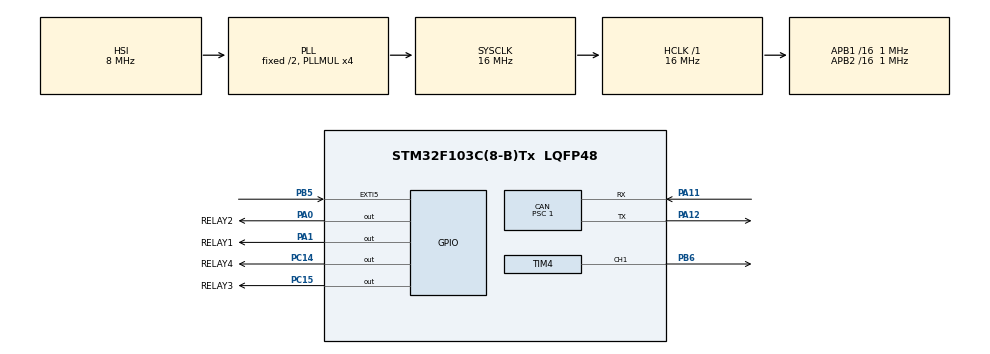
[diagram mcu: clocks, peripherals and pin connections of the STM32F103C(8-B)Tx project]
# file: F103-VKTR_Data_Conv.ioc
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CAN.BS1=CAN_BS1_2TQ
CAN.CalculateBaudRate=250000
CAN.CalculateTimeBit=4000
CAN.CalculateTimeQuantum=1000.0
CAN.Prescaler=1
Mcu.Family=STM32F1
Mcu.Name=STM32F103C(8-B)Tx
Mcu.Package=LQFP48
NVIC.CAN1_RX1_IRQn=true\:0\:0\:false\:false\:true\:true\:true\:true
NVIC.EXTI9_5_IRQn=true\:0\:0\:false\:false\:true\:true\:true\:true
NVIC.PriorityGroup=NVIC_PRIORITYGROUP_4
NVIC.TIM2_IRQn=true\:0\:0\:false\:false\:true\:true\:true\:true
PA0-WKUP.GPIO_Label=RELAY2
PA0-WKUP.Signal=GPIO_Output
PA1.GPIO_Label=RELAY1
PA1.Signal=GPIO_Output
PA11.Mode=CAN_Activate
PA11.Signal=CAN_RX
PA12.Mode=CAN_Activate
PA12.Signal=CAN_TX
PA13.Mode=Serial_Wire
PA13.Signal=SYS_JTMS-SWDIO
PA14.Mode=Serial_Wire
PA14.Signal=SYS_JTCK-SWCLK
PB5.Signal=GPXTI5
PB6.Signal=S_TIM4_CH1
PC14-OSC32_IN.GPIO_Label=RELAY4
PC14-OSC32_IN.Signal=GPIO_Output
PC15-OSC32_OUT.GPIO_Label=RELAY3
PC15-OSC32_OUT.Signal=GPIO_Output
PD0-OSC_IN.Mode=HSE-External-Oscillator
PD0-OSC_IN.Signal=RCC_OSC_IN
PD1-OSC_OUT.Mode=HSE-External-Oscillator
PD1-OSC_OUT.Signal=RCC_OSC_OUT
ProjectManager.HeapSize=0x200
ProjectManager.StackSize=0x400
ProjectManager.TargetToolchain=STM32CubeIDE
RCC.AHBFreq_Value=16000000
RCC.APB1CLKDivider=RCC_HCLK_DIV16
RCC.APB1Freq_Value=1000000
RCC.APB1TimFreq_Value=2000000
RCC.APB2CLKDivider=RCC_HCLK_DIV16
RCC.APB2Freq_Value=1000000
RCC.APB2TimFreq_Value=2000000
RCC.HCLKFreq_Value=16000000
RCC.PLLMUL=RCC_PLL_MUL4
RCC.SYSCLKFreq_VALUE=16000000
RCC.SYSCLKSource=RCC_SYSCLKSOURCE_PLLCLK
RCC.USBFreq_Value=16000000
SH.S_TIM4_CH1.0=TIM4_CH1,PWM Generation1 CH1
TIM2.Channel-PWM\ Generation1\ No\ Output=TIM_CHANNEL_1
TIM2.Period=20000-1
TIM2.Prescaler=10-1
TIM4.Channel-PWM\ Generation1\ CH1=TIM_CHANNEL_1
TIM4.Period=65535
TIM4.Prescaler=10-1
VP_TIM2_VS_no_output1.Mode=PWM Generation1 No Output
board=custom

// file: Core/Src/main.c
/* USER CODE BEGIN Header */
/**
  ******************************************************************************
  * @file           : main.c
  * @brief          : Main program body
  ******************************************************************************
  * @attention
  *
  * Copyright (c) 2022 STMicroelectronics.
  * All rights reserved.
  *
  * This software is licensed under terms that can be found in the LICENSE file
  * in the root directory of this software component.
  * If no LICENSE file comes with this software, it is provided AS-IS.
  *
  ******************************************************************************
  */
/* USER CODE END Header */
#include "main.h"

/* USER CODE BEGIN Includes */
#include "math.h"
#include "stdio.h"
#include "stdlib.h"
#include "string.h"
/* USER CODE END Includes */

CAN_HandleTypeDef hcan;

TIM_HandleTypeDef htim2;
TIM_HandleTypeDef htim4;

void SystemClock_Config(void);
static void MX_GPIO_Init(void);
static void MX_TIM4_Init(void);
static void MX_CAN_Init(void);
static void MX_TIM2_Init(void);

/* USER CODE BEGIN 0 */

CAN_TxHeaderTypeDef TxHeader;
CAN_RxHeaderTypeDef RxHeader;

uint8_t TxData[8];
uint8_t RxData[8];

uint32_t TxMailbox;

int datacheck = 0;

char data[255] = {'\0'};
int soc=0,voltage=0,soh=0,current=0,temperature=0;

uint8_t Cmd_End[3] = {0xff,0xff,0xff};
uint8_t value=0;
uint16_t i;
float speed = 60, kmhtofreq, freqtoarr;
uint16_t cnt = 0;
uint16_t rpm = 0;
float v=0;

/*	CAN Receive Handler	*/
void HAL_CAN_RxFifo1MsgPendingCallback(CAN_HandleTypeDef *hcan)
{
	HAL_CAN_GetRxMessage(hcan, CAN_RX_FIFO1, &RxHeader, RxData);
		datacheck = 1;
		if((RxHeader.ExtId & 0xFFFF0000) == 0x10260000){
			datacheck = 2;
			if((RxHeader.ExtId & 0x000000FF) == 0x00){
				soc=RxData[1];
				soh=RxData[2];
				temperature= RxData[3];
				voltage=RxData[4];
				current=RxData[5];
				datacheck = 3;
			}
		}
}

/* USER CODE END 0 */

int main(void)
{

  /* MCU Configuration--------------------------------------------------------*/

  /* Reset of all peripherals, Initializes the Flash interface and the Systick. */
  HAL_Init();

  /* Configure the system clock */
  SystemClock_Config();

  /* Initialize all configured peripherals */
  MX_GPIO_Init();
  MX_TIM4_Init();
  MX_CAN_Init();
  MX_TIM2_Init();
  /* USER CODE BEGIN 2 */

  HAL_GPIO_WritePin(RELAY1_GPIO_Port, RELAY1_Pin, 0);
  HAL_GPIO_WritePin(RELAY2_GPIO_Port, RELAY2_Pin, 1);
  HAL_GPIO_WritePin(RELAY3_GPIO_Port, RELAY3_Pin, 0);
  HAL_GPIO_WritePin(RELAY4_GPIO_Port, RELAY4_Pin, 0);

  HAL_Delay (500);

  HAL_TIM_Base_Start(&htim4);
  HAL_TIM_PWM_Start(&htim4, TIM_CHANNEL_1);
  HAL_CAN_Start(&hcan);

  // Activate CAN notification
  HAL_CAN_ActivateNotification(&hcan, CAN_IT_RX_FIFO1_MSG_PENDING);

  TxHeader.DLC = 2;  // data length
  TxHeader.IDE = CAN_ID_EXT;
  TxHeader.RTR = CAN_RTR_DATA;
  TxHeader.ExtId = 0x13;  // ID

  TxData[0] = 200;  // ms delay
  TxData[1] = 20;  // loop rep

  /* USER CODE END 2 */

  /* Infinite loop */
  while (1)
  {

    /* USER CODE BEGIN 3 */

	  /*	SPEED TO FREQUENCY CONVERSION	*/
	  // y = 7.4785x - 35.058
	  kmhtofreq = 7.5*(speed);
	  // max 160kmh = 1200Hz = ARR 166
	  // min 2kmh = 10Hz = ARR 20000
      // (APB1/(TIM4PCS*kmhtofreq))
	  freqtoarr = (2000000/(10*kmhtofreq));
	  TIM4->ARR = (int)freqtoarr;
	  // CCR always 1/2 ARR
	  TIM4->CCR1 = (int)(freqtoarr/2);
	  if(TIM1->CNT > TIM1->ARR){
		  // limit CNT if exceeds ARR
		  TIM4->CNT = TIM4->ARR;
	  }

	  /*	CAN DATA CHECKING	*/
	  if (datacheck){
		  for (int i=0; i<RxData[1]; i++){
			  // blink led
			  HAL_GPIO_TogglePin(GPIOC, GPIO_PIN_13);
			  HAL_Delay(RxData[0]);
		  }
		  datacheck = 0;
	  }

	  /*	FUEL RESISTIVE SWITCH	*/
	  if(soc>=80){
		  // full
		  HAL_GPIO_WritePin(RELAY1_GPIO_Port, RELAY1_Pin, 0);
		  HAL_GPIO_WritePin(RELAY2_GPIO_Port, RELAY2_Pin, 0);
		  HAL_GPIO_WritePin(RELAY3_GPIO_Port, RELAY3_Pin, 0);
		  HAL_GPIO_WritePin(RELAY4_GPIO_Port, RELAY4_Pin, 1);
	  }
	  else if(soc>=60 && soc<80){
		  // 4/5
		  HAL_GPIO_WritePin(RELAY1_GPIO_Port, RELAY1_Pin, 0);
		  HAL_GPIO_WritePin(RELAY2_GPIO_Port, RELAY2_Pin, 0);
		  HAL_GPIO_WritePin(RELAY3_GPIO_Port, RELAY3_Pin, 1);
		  HAL_GPIO_WritePin(RELAY4_GPIO_Port, RELAY4_Pin, 0);
	  }
	  else if(soc>=40 && soc<60){
		  // 3/5
		  HAL_GPIO_WritePin(RELAY1_GPIO_Port, RELAY1_Pin, 0);
		  HAL_GPIO_WritePin(RELAY2_GPIO_Port, RELAY2_Pin, 1);
		  HAL_GPIO_WritePin(RELAY3_GPIO_Port, RELAY3_Pin, 0);
		  HAL_GPIO_WritePin(RELAY4_GPIO_Port, RELAY4_Pin, 0);
	  }
	  else if(soc>=20 && soc<40){
		  // 2/5
		  HAL_GPIO_WritePin(RELAY1_GPIO_Port, RELAY1_Pin, 1);
		  HAL_GPIO_WritePin(RELAY2_GPIO_Port, RELAY2_Pin, 0);
		  HAL_GPIO_WritePin(RELAY3_GPIO_Port, RELAY3_Pin, 0);
		  HAL_GPIO_WritePin(RELAY4_GPIO_Port, RELAY4_Pin, 0);
	  }
	  else if(soc<20){
		  // 1/5
		  HAL_GPIO_WritePin(RELAY1_GPIO_Port, RELAY1_Pin, 0);
		  HAL_GPIO_WritePin(RELAY2_GPIO_Port, RELAY2_Pin, 0);
		  HAL_GPIO_WritePin(RELAY3_GPIO_Port, RELAY3_Pin, 0);
		  HAL_GPIO_WritePin(RELAY4_GPIO_Port, RELAY4_Pin, 0);
	  }

	  i++;
  }

  /* USER CODE END 3 */
}

void SystemClock_Config(void)
{
  RCC_OscInitTypeDef RCC_OscInitStruct = {0};
  RCC_ClkInitTypeDef RCC_ClkInitStruct = {0};

  /** Initializes the RCC Oscillators according to the specified parameters
  * in the RCC_OscInitTypeDef structure.
  */
  RCC_OscInitStruct.OscillatorType = RCC_OSCILLATORTYPE_HSI;
  RCC_OscInitStruct.HSIState = RCC_HSI_ON;
  RCC_OscInitStruct.HSICalibrationValue = RCC_HSICALIBRATION_DEFAULT;
  RCC_OscInitStruct.PLL.PLLState = RCC_PLL_ON;
  RCC_OscInitStruct.PLL.PLLSource = RCC_PLLSOURCE_HSI_DIV2;
  RCC_OscInitStruct.PLL.PLLMUL = RCC_PLL_MUL4;
  if (HAL_RCC_OscConfig(&RCC_OscInitStruct) != HAL_OK)
  {
    Error_Handler();
  }

  /** Initializes the CPU, AHB and APB buses clocks
  */
  RCC_ClkInitStruct.ClockType = RCC_CLOCKTYPE_HCLK|RCC_CLOCKTYPE_SYSCLK
                              |RCC_CLOCKTYPE_PCLK1|RCC_CLOCKTYPE_PCLK2;
  RCC_ClkInitStruct.SYSCLKSource = RCC_SYSCLKSOURCE_PLLCLK;
  RCC_ClkInitStruct.AHBCLKDivider = RCC_SYSCLK_DIV1;
  RCC_ClkInitStruct.APB1CLKDivider = RCC_HCLK_DIV16;
  RCC_ClkInitStruct.APB2CLKDivider = RCC_HCLK_DIV16;

  if (HAL_RCC_ClockConfig(&RCC_ClkInitStruct, FLASH_LATENCY_0) != HAL_OK)
  {
    Error_Handler();
  }
}

static void MX_CAN_Init(void)
{

  hcan.Instance = CAN1;
  hcan.Init.Prescaler = 1;
  hcan.Init.Mode = CAN_MODE_NORMAL;
  hcan.Init.SyncJumpWidth = CAN_SJW_1TQ;
  hcan.Init.TimeSeg1 = CAN_BS1_2TQ;
  hcan.Init.TimeSeg2 = CAN_BS2_1TQ;
  hcan.Init.TimeTriggeredMode = DISABLE;
  hcan.Init.AutoBusOff = DISABLE;
  hcan.Init.AutoWakeUp = DISABLE;
  hcan.Init.AutoRetransmission = DISABLE;
  hcan.Init.ReceiveFifoLocked = DISABLE;
  hcan.Init.TransmitFifoPriority = DISABLE;
  if (HAL_CAN_Init(&hcan) != HAL_OK)
  {
    Error_Handler();
  }

}

static void MX_TIM2_Init(void)
{

  TIM_MasterConfigTypeDef sMasterConfig = {0};
  TIM_OC_InitTypeDef sConfigOC = {0};

  htim2.Instance = TIM2;
  htim2.Init.Prescaler = 10-1;
  htim2.Init.CounterMode = TIM_COUNTERMODE_UP;
  htim2.Init.Period = 20000-1;
  htim2.Init.ClockDivision = TIM_CLOCKDIVISION_DIV1;
  htim2.Init.AutoReloadPreload = TIM_AUTORELOAD_PRELOAD_DISABLE;
  if (HAL_TIM_PWM_Init(&htim2) != HAL_OK)
  {
    Error_Handler();
  }
  sMasterConfig.MasterOutputTrigger = TIM_TRGO_RESET;
  sMasterConfig.MasterSlaveMode = TIM_MASTERSLAVEMODE_DISABLE;
  if (HAL_TIMEx_MasterConfigSynchronization(&htim2, &sMasterConfig) != HAL_OK)
  {
    Error_Handler();
  }
  sConfigOC.OCMode = TIM_OCMODE_PWM1;
  sConfigOC.Pulse = 0;
  sConfigOC.OCPolarity = TIM_OCPOLARITY_HIGH;
  sConfigOC.OCFastMode = TIM_OCFAST_DISABLE;
  if (HAL_TIM_PWM_ConfigChannel(&htim2, &sConfigOC, TIM_CHANNEL_1) != HAL_OK)
  {
    Error_Handler();
  }

}

static void MX_TIM4_Init(void)
{

  TIM_MasterConfigTypeDef sMasterConfig = {0};
  TIM_OC_InitTypeDef sConfigOC = {0};

  htim4.Instance = TIM4;
  htim4.Init.Prescaler = 10-1;
  htim4.Init.CounterMode = TIM_COUNTERMODE_UP;
  htim4.Init.Period = 65535;
  htim4.Init.ClockDivision = TIM_CLOCKDIVISION_DIV1;
  htim4.Init.AutoReloadPreload = TIM_AUTORELOAD_PRELOAD_DISABLE;
  if (HAL_TIM_PWM_Init(&htim4) != HAL_OK)
  {
    Error_Handler();
  }
  sMasterConfig.MasterOutputTrigger = TIM_TRGO_RESET;
  sMasterConfig.MasterSlaveMode = TIM_MASTERSLAVEMODE_DISABLE;
  if (HAL_TIMEx_MasterConfigSynchronization(&htim4, &sMasterConfig) != HAL_OK)
  {
    Error_Handler();
  }
  sConfigOC.OCMode = TIM_OCMODE_PWM1;
  sConfigOC.Pulse = 0;
  sConfigOC.OCPolarity = TIM_OCPOLARITY_HIGH;
  sConfigOC.OCFastMode = TIM_OCFAST_DISABLE;
  if (HAL_TIM_PWM_ConfigChannel(&htim4, &sConfigOC, TIM_CHANNEL_1) != HAL_OK)
  {
    Error_Handler();
  }
  HAL_TIM_MspPostInit(&htim4);

}

static void MX_GPIO_Init(void)
{
  GPIO_InitTypeDef GPIO_InitStruct = {0};

  /* GPIO Ports Clock Enable */
  __HAL_RCC_GPIOC_CLK_ENABLE();
  __HAL_RCC_GPIOD_CLK_ENABLE();
  __HAL_RCC_GPIOA_CLK_ENABLE();
  __HAL_RCC_GPIOB_CLK_ENABLE();

  /*Configure GPIO pin Output Level */
  HAL_GPIO_WritePin(GPIOC, RELAY4_Pin|RELAY3_Pin, GPIO_PIN_RESET);

  /*Configure GPIO pin Output Level */
  HAL_GPIO_WritePin(GPIOA, RELAY2_Pin|RELAY1_Pin, GPIO_PIN_RESET);

  /*Configure GPIO pins : RELAY4_Pin RELAY3_Pin */
  GPIO_InitStruct.Pin = RELAY4_Pin|RELAY3_Pin;
  GPIO_InitStruct.Mode = GPIO_MODE_OUTPUT_PP;
  GPIO_InitStruct.Pull = GPIO_NOPULL;
  GPIO_InitStruct.Speed = GPIO_SPEED_FREQ_LOW;
  HAL_GPIO_Init(GPIOC, &GPIO_InitStruct);

  /*Configure GPIO pins : RELAY2_Pin RELAY1_Pin */
  GPIO_InitStruct.Pin = RELAY2_Pin|RELAY1_Pin;
  GPIO_InitStruct.Mode = GPIO_MODE_OUTPUT_PP;
  GPIO_InitStruct.Pull = GPIO_NOPULL;
  GPIO_InitStruct.Speed = GPIO_SPEED_FREQ_LOW;
  HAL_GPIO_Init(GPIOA, &GPIO_InitStruct);

  /*Configure GPIO pin : PB5 */
  GPIO_InitStruct.Pin = GPIO_PIN_5;
  GPIO_InitStruct.Mode = GPIO_MODE_IT_RISING;
  GPIO_InitStruct.Pull = GPIO_NOPULL;
  HAL_GPIO_Init(GPIOB, &GPIO_InitStruct);

  /* EXTI interrupt init*/
  HAL_NVIC_SetPriority(EXTI9_5_IRQn, 0, 0);
  HAL_NVIC_EnableIRQ(EXTI9_5_IRQn);

}

void Error_Handler(void)
{
  __disable_irq();
  while (1)
  {
  }
}
